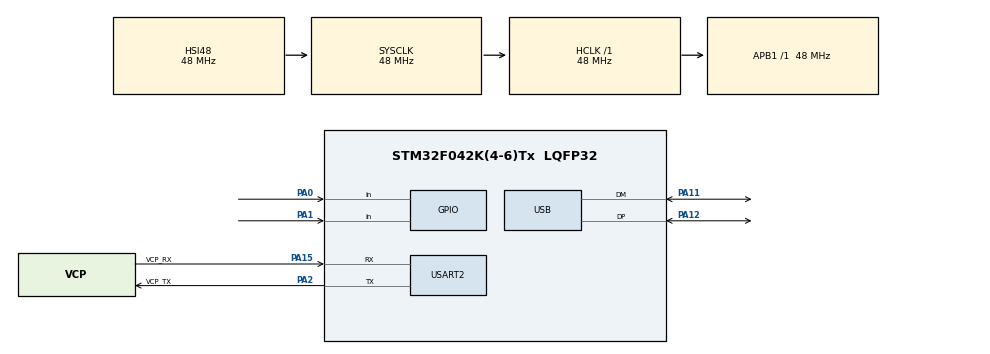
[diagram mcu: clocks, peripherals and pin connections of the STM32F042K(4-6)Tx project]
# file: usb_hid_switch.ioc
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Mcu.Family=STM32F0
Mcu.Name=STM32F042K(4-6)Tx
Mcu.Package=LQFP32
NVIC.USB_IRQn=true\:0\:0\:false\:false\:true\:false\:true\:true
PA0.Signal=GPIO_Input
PA1.Signal=GPIO_Input
PA11.Mode=Device
PA11.Signal=USB_DM
PA12.Mode=Device
PA12.Signal=USB_DP
PA13.GPIO_Label=SWDIO
PA13.Mode=Serial_Wire
PA13.Signal=SYS_SWDIO
PA14.GPIO_Label=SWCLK
PA14.Mode=Serial_Wire
PA14.Signal=SYS_SWCLK
PA15.GPIO_Label=VCP_RX
PA15.Mode=Asynchronous
PA15.Signal=USART2_RX
PA2.GPIO_Label=VCP_TX
PA2.Mode=Asynchronous
PA2.Signal=USART2_TX
PF0-OSC_IN.GPIO_Label=MCO
PF0-OSC_IN.Mode=HSE-External-Clock-Source
PF0-OSC_IN.Signal=RCC_OSC_IN
ProjectManager.HeapSize=0x200
ProjectManager.StackSize=0x400
ProjectManager.TargetToolchain=STM32CubeIDE
RCC.AHBFreq_Value=48000000
RCC.APB1Freq_Value=48000000
RCC.APB1TimFreq_Value=48000000
RCC.HCLKFreq_Value=48000000
RCC.SYSCLKFreq_VALUE=48000000
RCC.SYSCLKSource=RCC_SYSCLKSOURCE_HSI48
USART2.VirtualMode-Asynchronous=VM_ASYNC
USB_DEVICE.CLASS_NAME_FS=HID
USB_DEVICE.PRODUCT_STRING_HID_FS=Ron's Custom Device
USB_DEVICE.VirtualMode=Hid
USB_DEVICE.VirtualModeFS=Hid_FS
VP_USB_DEVICE_VS_USB_DEVICE_HID_FS.Mode=HID_FS
board=NUCLEO-F042K6

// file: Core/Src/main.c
/* USER CODE BEGIN Header */
/**
  ******************************************************************************
  * @file           : main.c
  * @brief          : Main program body
  ******************************************************************************
  *
  * This is the main code of the retro-controller
  *
  * Structure:
  * 1. Initialize the system
  * 2. Read flash and initialize corresponding HID profile
  * 3. Enter main loop
  * 	a. If mode switch interrupt pressed, cycle mode and reset
  * 	b. Read buttons
  * 	c. Send HID reports
  *
  ******************************************************************************
  */
/* USER CODE END Header */

#include "main.h"
#include "usb_device.h"
#include "usbd_hid.h"

/* USER CODE BEGIN ... */
#include <stdio.h>
#include "eeprom_emulation.h"
#include "hid_modes.h"
extern USBD_HandleTypeDef hUsbDeviceFS;
DeviceMode_t g_current_mode;
/* USER CODE END ... */

UART_HandleTypeDef huart2;

void SystemClock_Config(void);
static void MX_GPIO_Init(void);
static void MX_USART2_UART_Init(void);
extern USBD_HandleTypeDef hUsbDeviceFS;

/* USER CODE BEGIN ... */
static uint8_t gamepad_report[2] = {0x00, 0x00};
static uint8_t ds5_report[2] = {0x00, 0x00};

#define HID_KEYCODE_A 0x04

typedef struct __attribute__((packed)) {
    uint8_t reportId;       // Always 0x01
    uint8_t axes[6];        // Axes: X, Y, Z, Rz, Rx, Ry
    uint8_t vendorByte1;    // Unused
    uint8_t hatSwitch;      // Hat (0–7, 0x0F = neutral)
    uint16_t buttons;       // 15 buttons, LSB first
    uint8_t vendorData[53]; // Padding/vendor-defined
} DS5_Report_t;

void SendDS5Report(void) {
     DS5_Report_t report = {0};

     report.reportId = 0x01;
     report.axes[0] = 128; // X (unused)
     report.axes[1] = 128; // Y (unused)
     report.axes[2] = 128; // Z (unused)
     report.axes[3] = 128; // Rz (unused)
     report.axes[4] = 128; // Rx (unused)
     report.axes[5] = 128; // Ry (unused)

     report.vendorByte1 = 0x00; // for padding structure only

     report.hatSwitch = 0x0F; // neutral d-pad

     report.buttons = 0x0000; // neutral action buttons

     USBD_HID_SendReport(&hUsbDeviceFS, &report, sizeof(report));
 }

// For UART debugging. Critical for mystery reason(s).
int _write(int file, char *ptr, int len)
{
  HAL_UART_Transmit(&huart2, (uint8_t*)ptr, len, HAL_MAX_DELAY);
  return len;
}

/* USER CODE END ... */

int main(void)
{
	// 1. System initializations
	HAL_Init();
	SystemClock_Config();
	MX_USART2_UART_Init();
	MX_GPIO_Init();

	/* USER CODE BEGIN ... */
	// 2. HID mode initialization
//	g_current_mode = (DeviceMode_t)Flash_ReadLastValue();
	g_current_mode = MODE_DS5;
	g_current_mode = MODE_GAMEPAD;
//	g_current_mode = MODE_KEYBOARD;

	// The HID arrays are statically allocated
	// Overwrite certain parameters manually based on HID profile
//	USBD_HID_UpdateDescriptors();
	MX_USB_DEVICE_Init();

	static DS5_Report_t report;

	report.reportId = 0x01;
	report.axes[0] = 128;
	report.axes[1] = 128;
	report.axes[2] = 128;
	report.axes[3] = 128;
	report.axes[4] = 128;
	report.axes[5] = 128;
	report.vendorByte1 = 0x00;
	report.hatSwitch = 0x0F;  // Neutral
	memset(report.vendorData, 0, sizeof(report.vendorData));  // Optional

//	uint16_t last = Flash_ReadLastValue();

	// 3. Main loop

	while (1)
	{

		printf("Printing GPIO 0: \r\n");
		printf("Printing GPIO 0: %d\r\n", HAL_GPIO_ReadPin(GPIOA, GPIO_PIN_0));

		if(g_current_mode == MODE_GAMEPAD){
			gamepad_report[0] = (1 << 0) | (1 << 2); // This results in 0b00000101, which is 0x05
			gamepad_report[1] = 0x00; // No buttons pressed in the second byte

			// Send the 2-byte gamepad report to the host
			USBD_HID_SendReport(&hUsbDeviceFS, gamepad_report, sizeof(gamepad_report));
			HAL_Delay(20); // A 20ms delay is more suitable for a gamepad

			// --- Example: Clear all buttons for the next report ---
			gamepad_report[0] = 0x00;
			gamepad_report[1] = 0x00;
			USBD_HID_SendReport(&hUsbDeviceFS, gamepad_report, sizeof(gamepad_report));
			HAL_Delay(20);
		}

		else if(g_current_mode == MODE_DS5){
			 /* --- Press all 15 buttons --- */
			 // 0x7FFF is a bitmask with the first 15 bits set to 1.
	//	     report.buttons = 0x7FFF;
			 report.buttons = 0x7F01;
			 USBD_HID_SendReport(&hUsbDeviceFS, (uint8_t*)&report, sizeof(report));
			 HAL_Delay(50); // Wait 0.2 seconds

			 /* --- Release all buttons --- */
			 report.buttons = 0x0000;
			 USBD_HID_SendReport(&hUsbDeviceFS, (uint8_t*)&report, sizeof(report));
			 HAL_Delay(50); // Wait 0.2 seconds
		}

		else if(g_current_mode == MODE_KEYBOARD){
			uint8_t report_press[8] = {0x00, 0x00, 0x00, 0x00, 0x00, 0x00, 0x00, 0x00};
			uint8_t report_release[8] = {0x00, 0x00, 0x00, 0x00, 0x00, 0x00, 0x00, 0x00}; report_press[2] = HID_KEYCODE_A;

			USBD_HID_SendReport(&hUsbDeviceFS, report_press, sizeof(report_press));
			HAL_Delay(100);

			/* --- Example: Release the 'A' key --- */
			// Send a zeroed-out report to indicate no keys are pressed
			USBD_HID_SendReport(&hUsbDeviceFS, report_release, sizeof(report_release));
			HAL_Delay(1000);
		}

//		uint16_t last = Flash_ReadLastValue();

		printf("Main Loop is Looping \r\n");

	// EEPROM Stuff
	//	 char msg[32];
	//	 printf(msg, "Last value: %u\r\n", last);

	//	 cycle_state_and_reset();

	//	 uint16_t next = (last == 0xFFFF) ? 0 : last + 1;
	//	 if (Flash_Append(next) != 0) {
	//		 printf("Flash append failed!\r\n");
	//	 } else {
	//		 printf("Value written.\r\n");
	//	 }

		HAL_Delay(50);
	}

  /* USER CODE END ... */
}

void SystemClock_Config(void)
{
  RCC_OscInitTypeDef RCC_OscInitStruct = {0};
  RCC_ClkInitTypeDef RCC_ClkInitStruct = {0};
  RCC_PeriphCLKInitTypeDef PeriphClkInit = {0};

  /** Initializes the RCC Oscillators according to the specified parameters
  * in the RCC_OscInitTypeDef structure.
  */
  RCC_OscInitStruct.OscillatorType = RCC_OSCILLATORTYPE_HSI48;
  RCC_OscInitStruct.HSI48State = RCC_HSI48_ON;
  RCC_OscInitStruct.PLL.PLLState = RCC_PLL_NONE;
  if (HAL_RCC_OscConfig(&RCC_OscInitStruct) != HAL_OK)
  {
    Error_Handler();
  }

  /** Initializes the CPU, AHB and APB buses clocks
  */
  RCC_ClkInitStruct.ClockType = RCC_CLOCKTYPE_HCLK|RCC_CLOCKTYPE_SYSCLK
                              |RCC_CLOCKTYPE_PCLK1;
  RCC_ClkInitStruct.SYSCLKSource = RCC_SYSCLKSOURCE_HSI48;
  RCC_ClkInitStruct.AHBCLKDivider = RCC_SYSCLK_DIV1;
  RCC_ClkInitStruct.APB1CLKDivider = RCC_HCLK_DIV1;

  if (HAL_RCC_ClockConfig(&RCC_ClkInitStruct, FLASH_LATENCY_1) != HAL_OK)
  {
    Error_Handler();
  }
  PeriphClkInit.PeriphClockSelection = RCC_PERIPHCLK_USB;
  PeriphClkInit.UsbClockSelection = RCC_USBCLKSOURCE_HSI48;

  if (HAL_RCCEx_PeriphCLKConfig(&PeriphClkInit) != HAL_OK)
  {
    Error_Handler();
  }
}

static void MX_USART2_UART_Init(void)
{
  huart2.Instance = USART2;
  huart2.Init.BaudRate = 38400;
  huart2.Init.WordLength = UART_WORDLENGTH_8B;
  huart2.Init.StopBits = UART_STOPBITS_1;
  huart2.Init.Parity = UART_PARITY_NONE;
  huart2.Init.Mode = UART_MODE_TX_RX;
  huart2.Init.HwFlowCtl = UART_HWCONTROL_NONE;
  huart2.Init.OverSampling = UART_OVERSAMPLING_16;
  huart2.Init.OneBitSampling = UART_ONE_BIT_SAMPLE_DISABLE;
  huart2.AdvancedInit.AdvFeatureInit = UART_ADVFEATURE_NO_INIT;
  if (HAL_UART_Init(&huart2) != HAL_OK)
  {
    Error_Handler();
  }

}

static void MX_GPIO_Init(void)
{
  __HAL_RCC_GPIOF_CLK_ENABLE();
  __HAL_RCC_GPIOA_CLK_ENABLE();

  GPIO_InitTypeDef GPIO_InitStruct = {0};

  /* Configure GPIO pin : PA0 (Button Input) */
  GPIO_InitStruct.Pin = GPIO_PIN_0;
  GPIO_InitStruct.Mode = GPIO_MODE_IT_FALLING;  // Interrupt on falling edge (button press)
  GPIO_InitStruct.Pull = GPIO_PULLUP;           // Enable internal pull-up (button active low)
  HAL_GPIO_Init(GPIOA, &GPIO_InitStruct);

  /* EXTI interrupt init*/
  HAL_NVIC_SetPriority(EXTI0_1_IRQn, 2, 0);
  HAL_NVIC_EnableIRQ(EXTI0_1_IRQn);

//  // Disable EXTI IRQ temporarily
//  HAL_NVIC_DisableIRQ(EXTI0_1_IRQn);
//
//  // Clear any pending IRQ
//  __HAL_GPIO_EXTI_CLEAR_IT(GPIO_PIN_0);
//  __HAL_GPIO_EXTI_CLEAR_IT(GPIO_PIN_0);
//  NVIC_ClearPendingIRQ(EXTI0_1_IRQn);
//  HAL_NVIC_EnableIRQ(EXTI0_1_IRQn);
//
//  // Configure EXTI for falling edge only
//  EXTI->FTSR |= EXTI_FTSR_TR0;  // Falling trigger enabled for line 0
//  EXTI->RTSR &= ~EXTI_RTSR_TR0; // Rising trigger disabled for line 0
//
//  // Enable EXTI IRQ
//  HAL_NVIC_EnableIRQ(EXTI0_1_IRQn);
//  printf("UART initialized!\r\n");
//  printf("EXTI FTSR: 0x%08lX\n", EXTI->FTSR);
//  printf("EXTI RTSR: 0x%08lX\n", EXTI->RTSR);

}

volatile uint32_t last_button_press_time = 0;
volatile uint8_t button_pressed_flag = 0;
#define DEBOUNCE_INTERVAL_MS 200

void EXTI0_1_IRQHandler(void)
{
	if(__HAL_GPIO_EXTI_GET_IT(GPIO_PIN_0) != RESET)
	{
		__HAL_GPIO_EXTI_CLEAR_IT(GPIO_PIN_0);  // Clear interrupt flag

		uint32_t now = HAL_GetTick();

		if (now - last_button_press_time > DEBOUNCE_INTERVAL_MS) {
			HAL_Delay(5);
			 if (HAL_GPIO_ReadPin(GPIOA, GPIO_PIN_0) == GPIO_PIN_RESET)
			      {
				printf("Printing GPIO 0: %d\r\n", HAL_GPIO_ReadPin(GPIOA, GPIO_PIN_0));
				printf("EXTI FTSR: 0x%08lX\n", EXTI->FTSR);
				printf("EXTI RTSR: 0x%08lX\n", EXTI->RTSR);
				printf("GPIO PA0 hit.\r\n");
	//		   cycle_state_and_reset();
			   last_button_press_time = now;
			      }
		}
    }
}

void Error_Handler(void)
{
  __disable_irq();
  while (1)
  {
  }
}
